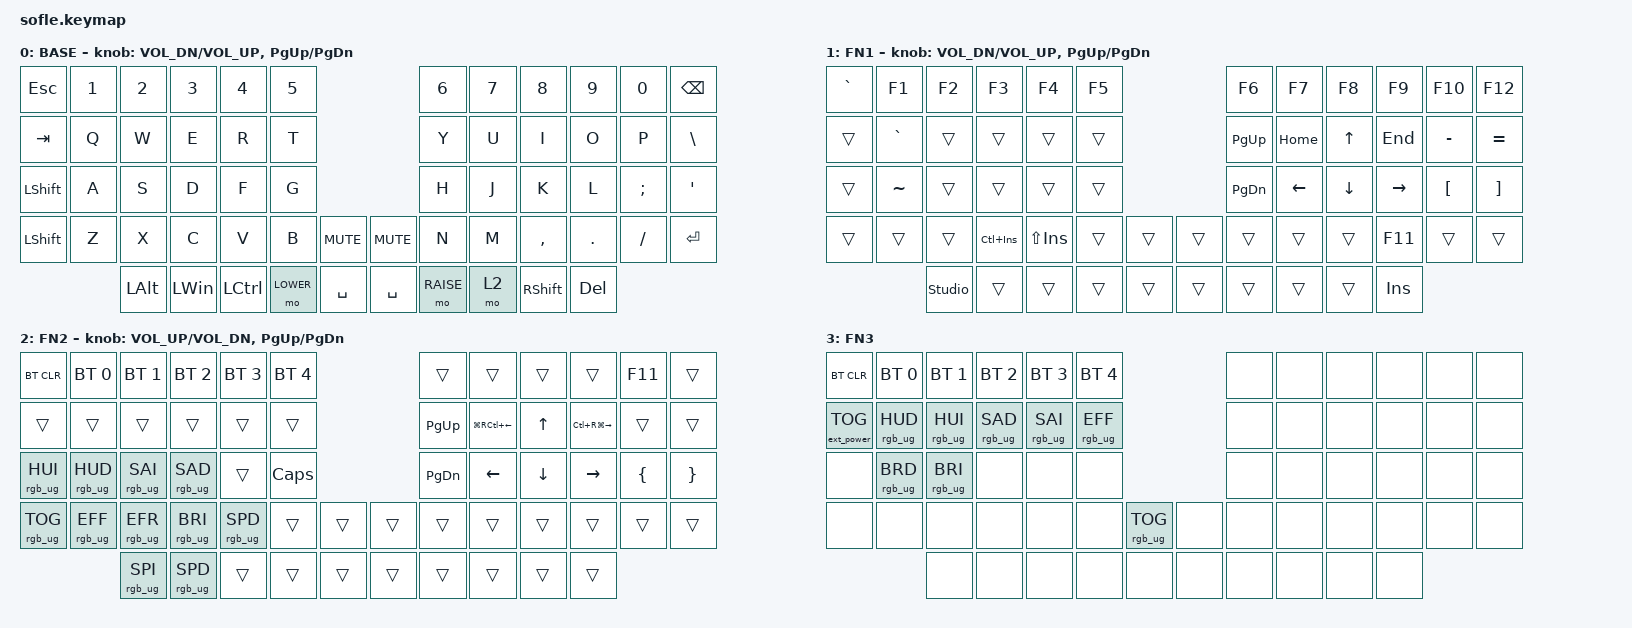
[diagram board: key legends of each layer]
/*
 * Copyright (c) 2020 The ZMK Contributors
 *
 * SPDX-License-Identifier: MIT
 */

#include <behaviors.dtsi>
#include <dt-bindings/zmk/bt.h>
#include <dt-bindings/zmk/ext_power.h>
#include <dt-bindings/zmk/keys.h>
#include <dt-bindings/zmk/rgb.h>

#define BASE 0
#define LOWER 1
#define RAISE 2
#define ADJUST 3

/ {
    // Activate ADJUST layer by pressing raise and lower

    conditional_layers {
        compatible = "zmk,conditional-layers";

        adjust_layer {
            if-layers = <LOWER RAISE>;
            then-layer = <ADJUST>;
        };
    };

    keymap {
        compatible = "zmk,keymap";

        default_layer {
            label = "BASE";

            // ------------------------------------------------------------------------------------------------------------
            // |   `   |  1  |  2  |  3   |  4   |  5   |                   |  6   |  7    |  8    |  9   |   0   |       |
            // |  ESC  |  Q  |  W  |  E   |  R   |  T   |                   |  Y   |  U    |  I    |  O   |   P   | BKSPC |
            // |  TAB  |  A  |  S  |  D   |  F   |  G   |                   |  H   |  J    |  K    |  L   |   ;   |   '   |
            // | SHIFT |  Z  |  X  |  C   |  V   |  B   |  MUTE  |  |       |  N   |  M    |  ,    |  .   |   /   | SHIFT |
            //               | GUI | ALT  | CTRL | LOWER|  ENTER |  | SPACE | RAISE| CTRL  | ALT   | GUI  |

            bindings = <
&kp ESC         &kp N1  &kp N2        &kp N3        &kp N4     &kp N5                               &kp N6     &kp N7  &kp N8           &kp N9      &kp N0    &kp BSPC
&kp TAB         &kp Q   &kp W         &kp E         &kp R      &kp T                                &kp Y      &kp U   &kp I            &kp O       &kp P     &kp BSLH
&kp LEFT_SHIFT  &kp A   &kp S         &kp D         &kp F      &kp G                                &kp H      &kp J   &kp K            &kp L       &kp SEMI  &kp SQT
&kp LSHFT       &kp Z   &kp X         &kp C         &kp V      &kp B      &kp C_MUTE    &kp C_MUTE  &kp N      &kp M   &kp COMMA        &kp DOT     &kp FSLH  &kp ENTER
                        &kp LEFT_ALT  &kp LEFT_WIN  &kp LCTRL  &mo LOWER  &kp SPACE     &kp SPACE   &mo RAISE  &mo 2   &kp RIGHT_SHIFT  &kp DELETE
            >;

            sensor-bindings =
                <&inc_dec_kp C_VOL_DN C_VOL_UP>,
                <&inc_dec_kp PG_UP PG_DN>;
        };

        lower_layer {
            label = "FN1";

            // TODO: Some binds are waiting for shifted keycode support.
            // ------------------------------------------------------------------------------------------------------------
            // |       |  F1 |  F2 |  F3  |  F4  |  F5  |                   |  F6  |  F7   |  F8   |  F9  |  F10  |  F11  |
            // |   `   |  1  |  2  |  3   |  4   |  5   |                   |  6   |  7    |  8    |  9   |   0   |  F12  |
            // |       |  !  |  @  |  #   |  $   |  %   |                   |  ^   |  &    |  *    |  (   |   )   |   |   |
            // |       |  =  |  -  |  +   |  {   |  }   |        |  |       |  [   |  ]    |  ;    |  :   |   \   |       |
            //               |     |      |      |      |        |  |       |      |       |       |      |

            bindings = <
&kp GRAVE  &kp F1     &kp F2          &kp F3          &kp F4          &kp F5                    &kp F6         &kp F7          &kp F8    &kp F9           &kp F10           &kp F12
&trans     &kp GRAVE  &trans          &trans          &trans          &trans                    &kp PG_UP      &kp HOME        &kp UP    &kp END          &kp MINUS         &kp EQUAL
&trans     &kp TILDE  &trans          &trans          &trans          &trans                    &kp PAGE_DOWN  &kp LEFT_ARROW  &kp DOWN  &kp RIGHT_ARROW  &kp LEFT_BRACKET  &kp RIGHT_BRACKET
&trans     &trans     &trans          &kp LC(INSERT)  &kp LS(INSERT)  &trans  &trans    &trans  &trans         &trans          &trans    &kp F11          &trans            &trans
                      &studio_unlock  &trans          &trans          &trans  &trans    &trans  &trans         &trans          &trans    &kp INS
            >;

            sensor-bindings =
                <&inc_dec_kp C_VOL_DN C_VOL_UP>,
                <&inc_dec_kp PG_UP PG_DN>;
        };

        raise_layer {
            label = "FN2";

            // ------------------------------------------------------------------------------------------------------------
            // | BTCLR | BT1  | BT2  |  BT3  |  BT4  |  BT5 |                |      |      |       |      |       |       |
            // |       | INS  | PSCR | GUI   |       |      |                | PGUP |      |   ^   |      |       |       |
            // |       | ALT  | CTRL | SHIFT |       | CAPS |                | PGDN |   <- |   v   |  ->  |  DEL  | BKSPC |
            // |       | UNDO | CUT  | COPY  | PASTE |      |      |  |      |      |      |       |      |       |       |
            //                |      |       |       |      |      |  |      |      |      |       |      |

            bindings = <
&bt BT_CLR       &bt BT_SEL 0     &bt BT_SEL 1     &bt BT_SEL 2     &bt BT_SEL 3     &bt BT_SEL 4                    &trans     &trans                  &trans    &trans                   &kp F11         &trans
&trans           &trans           &trans           &trans           &trans           &trans                          &kp PG_UP  &kp LG(RC(LEFT_ARROW))  &kp UP    &kp LC(RG(RIGHT_ARROW))  &trans          &trans
&rgb_ug RGB_HUI  &rgb_ug RGB_HUD  &rgb_ug RGB_SAI  &rgb_ug RGB_SAD  &trans           &kp CLCK                        &kp PG_DN  &kp LEFT_ARROW          &kp DOWN  &kp RIGHT_ARROW          &kp LEFT_BRACE  &kp RIGHT_BRACE
&rgb_ug RGB_TOG  &rgb_ug RGB_EFF  &rgb_ug RGB_EFR  &rgb_ug RGB_BRI  &rgb_ug RGB_SPD  &trans        &trans    &trans  &trans     &trans                  &trans    &trans                   &trans          &trans
                                  &rgb_ug RGB_SPI  &rgb_ug RGB_SPD  &trans           &trans        &trans    &trans  &trans     &trans                  &trans    &trans
            >;

            sensor-bindings = <&inc_dec_kp C_VOL_UP C_VOL_DN &inc_dec_kp PG_UP PG_DN>;
        };

        adjust_layer {
            // ----------------------------------------------------------------------------------------------------------------------------
            // | BTCLR  |  BT1    |  BT2    |   BT3   |   BT4   |   BT5   |                  |      |      |       |      |       |       |
            // | EXTPWR | RGB_HUD | RGB_HUI | RGB_SAD | RGB_SAI | RGB_EFF |                  |      |      |       |      |       |       |
            // |        | RGB_BRD | RGB_BRI |         |         |         |                  |      |      |       |      |       |       |
            // |        |         |         |         |         |         | RGB_TOG | |      |      |      |       |      |       |       |
            //                    |         |         |         |         |         | |      |      |      |       |      |

            label = "FN3";
            bindings = <
&bt BT_CLR         &bt BT_SEL 0     &bt BT_SEL 1     &bt BT_SEL 2     &bt BT_SEL 3     &bt BT_SEL 4                               &none  &none  &none  &none  &none  &none
&ext_power EP_TOG  &rgb_ug RGB_HUD  &rgb_ug RGB_HUI  &rgb_ug RGB_SAD  &rgb_ug RGB_SAI  &rgb_ug RGB_EFF                            &none  &none  &none  &none  &none  &none
&none              &rgb_ug RGB_BRD  &rgb_ug RGB_BRI  &none            &none            &none                                      &none  &none  &none  &none  &none  &none
&none              &none            &none            &none            &none            &none            &rgb_ug RGB_TOG    &none  &none  &none  &none  &none  &none  &none
                                    &none            &none            &none            &none            &none              &none  &none  &none  &none  &none
            >;
        };
    };
};
